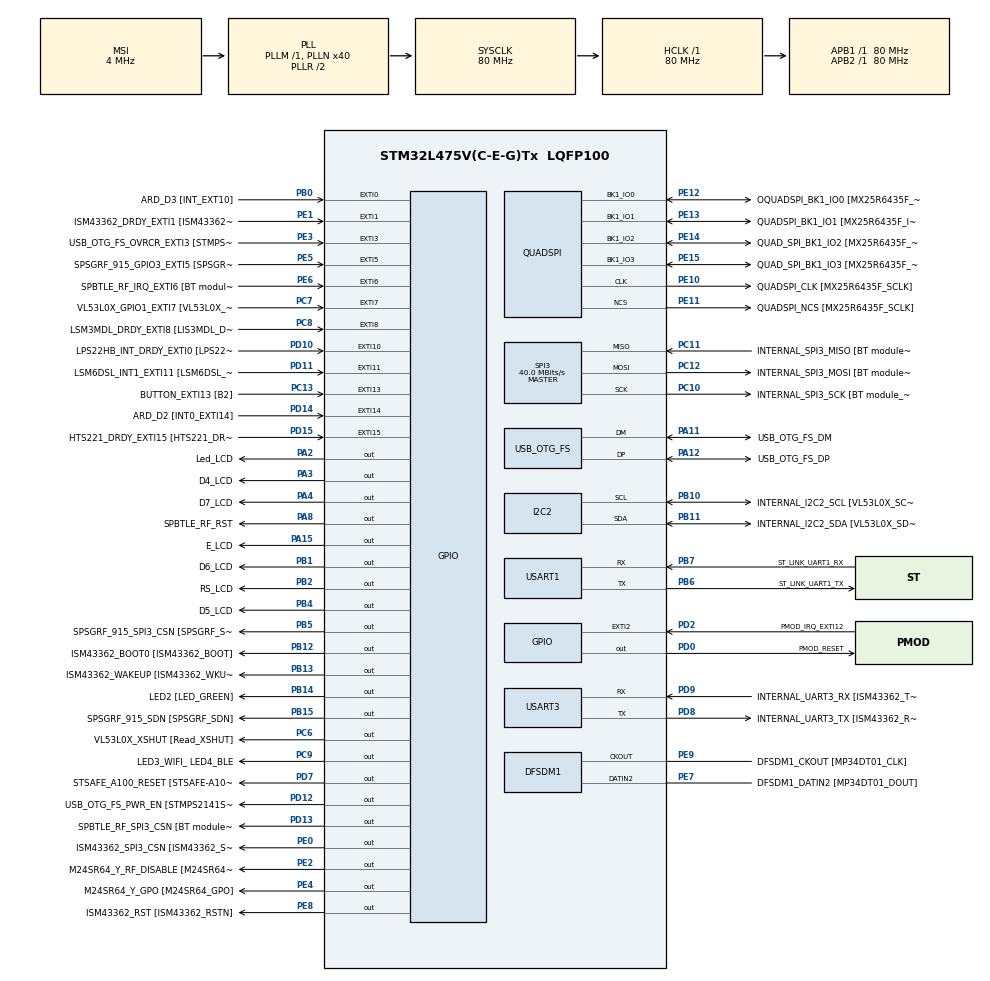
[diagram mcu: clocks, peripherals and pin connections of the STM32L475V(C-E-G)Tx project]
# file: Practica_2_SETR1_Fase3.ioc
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Mcu.Family=STM32L4
Mcu.Name=STM32L475V(C-E-G)Tx
Mcu.Package=LQFP100
NVIC.EXTI15_10_IRQn=true\:0\:0\:false\:false\:true\:true\:true\:true
NVIC.EXTI9_5_IRQn=true\:0\:0\:false\:false\:true\:true\:true\:true
NVIC.PriorityGroup=NVIC_PRIORITYGROUP_4
PA0.GPIO_Label=ARD_D1 [UART4_TX]
PA0.Signal=UART4_TX
PA1.GPIO_Label=ARD_D0 [UART4_RX]
PA1.Signal=UART4_RX
PA10.GPIO_Label=USB_OTG_FS_ID
PA10.Signal=USB_OTG_FS_ID
PA11.GPIO_Label=USB_OTG_FS_DM
PA11.Mode=Device_Only
PA11.Signal=USB_OTG_FS_DM
PA12.GPIO_Label=USB_OTG_FS_DP
PA12.Mode=Device_Only
PA12.Signal=USB_OTG_FS_DP
PA13\ (JTMS-SWDIO).GPIO_Label=SYS_JTMS_SWDIO
PA13\ (JTMS-SWDIO).Mode=Serial_Wire
PA13\ (JTMS-SWDIO).Signal=SYS_JTMS-SWDIO
PA14\ (JTCK-SWCLK).GPIO_Label=SYS_JTCK_SWCLK
PA14\ (JTCK-SWCLK).Mode=Serial_Wire
PA14\ (JTCK-SWCLK).Signal=SYS_JTCK-SWCLK
PA15\ (JTDI).GPIO_Label=E_LCD
PA15\ (JTDI).Signal=GPIO_Output
PA2.GPIO_Label=Led_LCD
PA2.Signal=GPIO_Output
PA3.GPIO_Label=D4_LCD
PA3.Signal=GPIO_Output
PA4.GPIO_Label=D7_LCD
PA4.Signal=GPIO_Output
PA5.GPIO_Label=ARD_D13 [SPI1_SCK]
PA5.Signal=SPI1_SCK
PA6.GPIO_Label=ARD_D12 [SPI1_MISO]
PA6.Signal=SPI1_MISO
PA7.GPIO_Label=ARD_D11 [SPI1_MOSI]
PA7.Signal=SPI1_MOSI
PA8.GPIO_Label=SPBTLE_RF_RST
PA8.Signal=GPIO_Output
PA9.GPIO_Label=USB_OTG_FS_VBUS [STMPS2141STR_OUT]
PA9.Signal=USB_OTG_FS_VBUS
PB0.GPIO_Label=ARD_D3 [INT_EXT10]
PB0.Signal=GPXTI0
PB1.GPIO_Label=D6_LCD
PB1.Signal=GPIO_Output
PB10.GPIO_Label=INTERNAL_I2C2_SCL [VL53L0X_SCL]
PB10.GPIO_Pu=GPIO_PULLUP
PB10.Mode=I2C
PB10.Signal=I2C2_SCL
PB11.GPIO_Label=INTERNAL_I2C2_SDA [VL53L0X_SDA]
PB11.GPIO_Pu=GPIO_PULLUP
PB11.Mode=I2C
PB11.Signal=I2C2_SDA
PB12.GPIO_Label=ISM43362_BOOT0 [ISM43362_BOOT]
PB12.Signal=GPIO_Output
PB13.GPIO_Label=ISM43362_WAKEUP [ISM43362_WKUP]
PB13.Signal=GPIO_Output
PB14.GPIO_Label=LED2 [LED_GREEN]
PB14.Signal=GPIO_Output
PB15.GPIO_Label=SPSGRF_915_SDN [SPSGRF_SDN]
PB15.Signal=GPIO_Output
PB2.GPIO_Label=RS_LCD
PB2.Signal=GPIO_Output
PB3\ (JTDO-TRACESWO).GPIO_Label=SYS_JTD0_SWO
PB3\ (JTDO-TRACESWO).Signal=SYS_JTDO-SWO
PB4\ (NJTRST).GPIO_Label=D5_LCD
PB4\ (NJTRST).Signal=GPIO_Output
PB5.GPIO_Label=SPSGRF_915_SPI3_CSN [SPSGRF_SPI_CS]
PB5.PinState=GPIO_PIN_SET
PB5.Signal=GPIO_Output
PB6.GPIO_Label=ST_LINK_UART1_TX
PB6.Mode=Asynchronous
PB6.Signal=USART1_TX
PB7.GPIO_Label=ST_LINK_UART1_RX
PB7.Mode=Asynchronous
PB7.Signal=USART1_RX
PB8.GPIO_Label=ARD_D15 [I2C1_SCL]
PB8.Signal=I2C1_SCL
PB9.GPIO_Label=ARD_D14 [I2C1_SDA]
PB9.Signal=I2C1_SDA
PC0.GPIO_Label=ARD_A5 [ADC]
PC0.Signal=ADCx_IN1
PC1.GPIO_Label=ARD_A4 [ADC]
PC1.Signal=ADCx_IN2
PC10.GPIO_Label=INTERNAL_SPI3_SCK [BT module_SPI_SCLK] [ISM43362_SCK]
PC10.Mode=Full_Duplex_Master
PC10.Signal=SPI3_SCK
PC11.GPIO_Label=INTERNAL_SPI3_MISO [BT module_SPI_MISO] [ISM43362_MISO]
PC11.Mode=Full_Duplex_Master
PC11.Signal=SPI3_MISO
PC12.GPIO_Label=INTERNAL_SPI3_MOSI [BT module_SPI_MOSI] [ISM43362_MOSI]
PC12.Mode=Full_Duplex_Master
PC12.Signal=SPI3_MOSI
PC13.GPIO_Label=BUTTON_EXTI13 [B2]
PC13.GPIO_ModeDefaultEXTI=GPIO_MODE_IT_FALLING
PC13.Signal=GPXTI13
PC14-OSC32_IN\ (PC14).Mode=LSE-External-Oscillator
PC14-OSC32_IN\ (PC14).Signal=RCC_OSC32_IN
PC15-OSC32_OUT\ (PC15).Mode=LSE-External-Oscillator
PC15-OSC32_OUT\ (PC15).Signal=RCC_OSC32_OUT
PC2.GPIO_Label=ARD_A3 [ADC]
PC2.Signal=ADCx_IN3
PC3.GPIO_Label=ARD_A2 [ADC]
PC3.Signal=ADCx_IN4
PC4.GPIO_Label=ARD_A1 [ADC]
PC4.Signal=ADCx_IN13
PC5.GPIO_Label=ARD_A0 [ADC]
PC5.Signal=ADCx_IN14
PC6.GPIO_Label=VL53L0X_XSHUT [Read_XSHUT]
PC6.Signal=GPIO_Output
PC7.GPIO_Label=VL53L0X_GPIO1_EXTI7 [VL53L0X_GPIO1]
PC7.Signal=GPXTI7
PC8.GPIO_Label=LSM3MDL_DRDY_EXTI8 [LIS3MDL_DRDY]
PC8.Signal=GPXTI8
PC9.GPIO_Label=LED3_WIFI_ LED4_BLE
PC9.Signal=GPIO_Output
PD0.GPIO_Label=PMOD_RESET
PD0.Signal=GPIO_Output
PD1.GPIO_Label=PMOD_SPI2_SCK
PD1.Signal=SPI2_SCK
PD10.GPIO_Label=LPS22HB_INT_DRDY_EXTI0 [LPS22HB_INT_DRDY] 
PD10.Signal=GPXTI10
PD11.GPIO_Label=LSM6DSL_INT1_EXTI11 [LSM6DSL_INT1]
PD11.Signal=GPXTI11
PD12.GPIO_Label=USB_OTG_FS_PWR_EN [STMPS2141STR_EN]
PD12.Signal=GPIO_Output
PD13.GPIO_Label=SPBTLE_RF_SPI3_CSN [BT module_SPI_CS]
PD13.PinState=GPIO_PIN_SET
PD13.Signal=GPIO_Output
PD14.GPIO_Label=ARD_D2 [INT0_EXTI14]
PD14.Signal=GPXTI14
PD15.GPIO_Label=HTS221_DRDY_EXTI15 [HTS221_DRDY]
PD15.Signal=GPXTI15
PD2.GPIO_Label=PMOD_IRQ_EXTI12
PD2.Signal=GPXTI2
PD3.GPIO_Label=PMOD_UART2_CTS
PD3.Signal=USART2_CTS
PD4.GPIO_Label=PMOD_UART2_RTS
PD4.Signal=USART2_RTS
PD5.GPIO_Label=PMOD_UART2_TX
PD5.Signal=USART2_TX
PD6.GPIO_Label=PMOD_UART2_RX
PD6.Signal=USART2_RX
PD7.GPIO_Label=STSAFE_A100_RESET [STSAFE-A100_RESET]
PD7.Signal=GPIO_Output
PD8.GPIO_Label=INTERNAL_UART3_TX [ISM43362_RX]
PD8.Mode=Asynchronous
PD8.Signal=USART3_TX
PD9.GPIO_Label=INTERNAL_UART3_RX [ISM43362_TX]
PD9.Mode=Asynchronous
PD9.Signal=USART3_RX
PE0.GPIO_Label=ISM43362_SPI3_CSN [ISM43362_SSN]
PE0.PinState=GPIO_PIN_SET
PE0.Signal=GPIO_Output
PE1.GPIO_Label=ISM43362_DRDY_EXTI1 [ISM43362_DATARDY]
PE1.Signal=GPXTI1
PE10.GPIO_Label=QUADSPI_CLK [MX25R6435F_SCLK]
PE10.Mode=Single Bank
PE10.Signal=QUADSPI_CLK
PE11.GPIO_Label=QUADSPI_NCS [MX25R6435F_SCLK]
PE11.Mode=Single Bank
PE11.Signal=QUADSPI_NCS
PE12.GPIO_Label=OQUADSPI_BK1_IO0 [MX25R6435F_IO0]
PE12.Mode=Single Bank
PE12.Signal=QUADSPI_BK1_IO0
PE13.GPIO_Label=QUADSPI_BK1_IO1 [MX25R6435F_IO1]
PE13.Mode=Single Bank
PE13.Signal=QUADSPI_BK1_IO1
PE14.GPIO_Label=QUAD_SPI_BK1_IO2 [MX25R6435F_IO2]
PE14.Mode=Single Bank
PE14.Signal=QUADSPI_BK1_IO2
PE15.GPIO_Label=QUAD_SPI_BK1_IO3 [MX25R6435F_IO3]
PE15.Mode=Single Bank
PE15.Signal=QUADSPI_BK1_IO3
PE2.GPIO_Label=M24SR64_Y_RF_DISABLE [M24SR64_RFDIS]
PE2.Signal=GPIO_Output
PE3.GPIO_Label=USB_OTG_FS_OVRCR_EXTI3 [STMPS2141STR_FAULT]
PE3.Signal=GPXTI3
PE4.GPIO_Label=M24SR64_Y_GPO [M24SR64_GPO]
PE4.Signal=GPIO_Output
PE5.GPIO_Label=SPSGRF_915_GPIO3_EXTI5 [SPSGRF_GPIO_3]
PE5.Signal=GPXTI5
PE6.GPIO_Label=SPBTLE_RF_IRQ_EXTI6 [BT module_SPI_IRQ]
PE6.Signal=GPXTI6
PE7.GPIO_Label=DFSDM1_DATIN2 [MP34DT01_DOUT]
PE7.Signal=S_DATAIN2DFSDM1
PE8.GPIO_Label=ISM43362_RST [ISM43362_RSTN]
PE8.Signal=GPIO_Output
PE9.GPIO_Label=DFSDM1_CKOUT [MP34DT01_CLK]
PE9.Signal=S_CKOUTDFSDM1
ProjectManager.HeapSize=0x200
ProjectManager.StackSize=0x400
ProjectManager.TargetToolchain=STM32CubeIDE
QUADSPI.ClockPrescaler=2
QUADSPI.FifoThreshold=4
QUADSPI.FlashSize=23
QUADSPI.SampleShifting=QSPI_SAMPLE_SHIFTING_HALFCYCLE
RCC.ADCFreq_Value=48000000
RCC.AHBFreq_Value=80000000
RCC.APB1Freq_Value=80000000
RCC.APB1TimFreq_Value=80000000
RCC.APB2Freq_Value=80000000
RCC.APB2TimFreq_Value=80000000
RCC.CortexFreq_Value=80000000
RCC.HCLKFreq_Value=80000000
RCC.HSE_VALUE=8000000
RCC.HSI_VALUE=16000000
RCC.MSI_VALUE=4000000
RCC.PLLN=40
RCC.PLLSAI1N=24
RCC.SYSCLKFreq_VALUE=80000000
RCC.SYSCLKSource=RCC_SYSCLKSOURCE_PLLCLK
RCC.USBFreq_Value=48000000
RCC.VCOOutputFreq_Value=160000000
SH.ADCx_IN1.0=ADC1_IN1
SH.ADCx_IN13.0=ADC1_IN13
SH.ADCx_IN14.0=ADC1_IN14
SH.ADCx_IN2.0=ADC1_IN2
SH.ADCx_IN3.0=ADC1_IN3
SH.ADCx_IN4.0=ADC1_IN4
SH.S_CKOUTDFSDM1.0=DFSDM1_CKOUT,CKOUT
SH.S_CKOUTDFSDM1.1=DFSDM1_CKOUT,PDM_SPI_Input_from_ch12_and_Internal_Clock
SH.S_DATAIN2DFSDM1.0=DFSDM1_DATIN2,PDM_SPI_Input_from_ch12_and_Internal_Clock
SPI3.CalculateBaudRate=40.0 MBits/s
SPI3.Direction=SPI_DIRECTION_2LINES
SPI3.Mode=SPI_MODE_MASTER
SPI3.VirtualType=VM_MASTER
USART1.VirtualMode-Asynchronous=VM_ASYNC
USART3.VirtualMode-Asynchronous=VM_ASYNC
USB_OTG_FS.VirtualMode=Device_Only
board=B-L475E-IOT01A1

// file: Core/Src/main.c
/* USER CODE BEGIN Header */
/**
  ******************************************************************************
  * @file           : main.c
  * @brief          : Main program body
  ******************************************************************************
  * @attention
  *
  * Copyright (c) 2024 STMicroelectronics.
  * All rights reserved.
  *
  * This software is licensed under terms that can be found in the LICENSE file
  * in the root directory of this software component.
  * If no LICENSE file comes with this software, it is provided AS-IS.
  *
  ******************************************************************************
  */
/* USER CODE END Header */
#include "main.h"

/* USER CODE BEGIN Includes */
#include "hd44780.h"
/* USER CODE END Includes */

DFSDM_Channel_HandleTypeDef hdfsdm1_channel1;

I2C_HandleTypeDef hi2c2;

QSPI_HandleTypeDef hqspi;

SPI_HandleTypeDef hspi3;

UART_HandleTypeDef huart1;
UART_HandleTypeDef huart3;

PCD_HandleTypeDef hpcd_USB_OTG_FS;

/* USER CODE BEGIN PV */
int contador = 0, estado_mu = 0;
/* USER CODE END PV */

void SystemClock_Config(void);
static void MX_GPIO_Init(void);
static void MX_DFSDM1_Init(void);
static void MX_I2C2_Init(void);
static void MX_QUADSPI_Init(void);
static void MX_SPI3_Init(void);
static void MX_USART1_UART_Init(void);
static void MX_USART3_UART_Init(void);
static void MX_USB_OTG_FS_PCD_Init(void);

int main(void)
{

  /* MCU Configuration--------------------------------------------------------*/

  /* Reset of all peripherals, Initializes the Flash interface and the Systick. */
  HAL_Init();

  /* Configure the system clock */
  SystemClock_Config();

  /* Initialize all configured peripherals */
  MX_GPIO_Init();
  MX_DFSDM1_Init();
  MX_I2C2_Init();
  MX_QUADSPI_Init();
  MX_SPI3_Init();
  MX_USART1_UART_Init();
  MX_USART3_UART_Init();
  MX_USB_OTG_FS_PCD_Init();

  /* USER CODE BEGIN 2 */
  //LL_GPIO_SetOutputPin(Led_LCD_GPIO_Port, Led_LCD_Pin);
  HAL_GPIO_WritePin(Led_LCD_GPIO_Port, Led_LCD_Pin, GPIO_PIN_SET);
  lcd_reset();
  lcd_display_settings(1,0,0);
  lcd_clear();
  lcd_print("Hola mundo");
  lcd_cgram_address(0); // se selecciona la dirección 0 de la CGRAM, patrón con código 0
  lcd_write(0x15, 1); //se va cargando con los bytes del patrón de cada fila de la CGRAM
  lcd_write(0x15, 1);
  lcd_write(0xe, 1);
  lcd_write(0x4, 1);
  lcd_write(0x4, 1);
  lcd_write(0xa, 1);
  lcd_write(0x11, 1);
  lcd_write(0x00, 1);
  lcd_cgram_address(8); //se selecciona la dirección 8 de la CGRAM, patrón con código 1
  lcd_write(0x4, 1); // se va cargando con los bytes del patrón de cada fila de la CGRAM
  lcd_write(0x4, 1);
  lcd_write(0xe, 1);
  lcd_write(0x15, 1);
  lcd_write(0x15, 1);
  lcd_write(0xa, 1);
  lcd_write(0xa, 1);
  lcd_write(0x00, 1);
  lcd_display_address(0); //Vuelve a direccionar la DDRAM para visualizar datos en pantalla
  /* USER CODE END 2 */

  /* Infinite loop */
  /* USER CODE BEGIN WHILE */

  while (1)
  {
	  contador++;
	  if(contador == 10 && estado_mu == 0){
	  moveToXY(1,7); //sitúa el cursor en la posición fila 1 columna 7, primer muñeco
	  lcd_write(0,1); //escribe el nuevo patrón 0 en la DDRAM
	  moveToXY(1,8); //sitúa el cursor en la posición fila 1 columna 7, segundo muñeco
	  lcd_write(0,1);
	  contador = 0;
	  estado_mu = 1;
	  }
	  //HAL_Delay(1000); //retraso de 1 segundo para dejar ver la figura en pantalla
	  if(contador == 10 && estado_mu == 1){
	  moveToXY(1,7);
	  lcd_write(1,1); //escribe el nuevo patrón 0 en la DDRAM
	  moveToXY(1,8);
	  lcd_write(1,1);
	  contador = 0;
	  estado_mu = 0;
	  //HAL_Delay(1000);
	  }

	  HAL_GPIO_WritePin(LED2_GPIO_Port, LED2_Pin, HAL_GPIO_ReadPin(BUTTON_EXTI13_GPIO_Port, BUTTON_EXTI13_Pin));

//	  if (LL_GPIO_IsInputPinSet(BUTTON_EXTI13_GPIO_Port, BUTTON_EXTI13_Pin))
//	  //LL_GPIO_SetOutputPin(LED2_GPIO_Port, LED2_Pin);
//		  HAL_GPIO_ReadPin(LED2_GPIO_Port, LED2_Pin);
//	  else
//	  //LL_GPIO_ResetOutputPin(LED2_GPIO_Port, LED2_Pin);
//		  HAL_GPIO_WritePin(LED2_GPIO_Port, LED2_Pin, GPIO_PIN_RESET);
//
//	  HAL_Delay(100);
    /* USER CODE END WHILE */

  }
}

void SystemClock_Config(void)
{
  RCC_OscInitTypeDef RCC_OscInitStruct = {0};
  RCC_ClkInitTypeDef RCC_ClkInitStruct = {0};

  /** Configure the main internal regulator output voltage
  */
  if (HAL_PWREx_ControlVoltageScaling(PWR_REGULATOR_VOLTAGE_SCALE1) != HAL_OK)
  {
    Error_Handler();
  }

  /** Configure LSE Drive Capability
  */
  HAL_PWR_EnableBkUpAccess();
  __HAL_RCC_LSEDRIVE_CONFIG(RCC_LSEDRIVE_LOW);

  /** Initializes the RCC Oscillators according to the specified parameters
  * in the RCC_OscInitTypeDef structure.
  */
  RCC_OscInitStruct.OscillatorType = RCC_OSCILLATORTYPE_LSE|RCC_OSCILLATORTYPE_MSI;
  RCC_OscInitStruct.LSEState = RCC_LSE_ON;
  RCC_OscInitStruct.MSIState = RCC_MSI_ON;
  RCC_OscInitStruct.MSICalibrationValue = 0;
  RCC_OscInitStruct.MSIClockRange = RCC_MSIRANGE_6;
  RCC_OscInitStruct.PLL.PLLState = RCC_PLL_ON;
  RCC_OscInitStruct.PLL.PLLSource = RCC_PLLSOURCE_MSI;
  RCC_OscInitStruct.PLL.PLLM = 1;
  RCC_OscInitStruct.PLL.PLLN = 40;
  RCC_OscInitStruct.PLL.PLLP = RCC_PLLP_DIV7;
  RCC_OscInitStruct.PLL.PLLQ = RCC_PLLQ_DIV2;
  RCC_OscInitStruct.PLL.PLLR = RCC_PLLR_DIV2;
  if (HAL_RCC_OscConfig(&RCC_OscInitStruct) != HAL_OK)
  {
    Error_Handler();
  }

  /** Initializes the CPU, AHB and APB buses clocks
  */
  RCC_ClkInitStruct.ClockType = RCC_CLOCKTYPE_HCLK|RCC_CLOCKTYPE_SYSCLK
                              |RCC_CLOCKTYPE_PCLK1|RCC_CLOCKTYPE_PCLK2;
  RCC_ClkInitStruct.SYSCLKSource = RCC_SYSCLKSOURCE_PLLCLK;
  RCC_ClkInitStruct.AHBCLKDivider = RCC_SYSCLK_DIV1;
  RCC_ClkInitStruct.APB1CLKDivider = RCC_HCLK_DIV1;
  RCC_ClkInitStruct.APB2CLKDivider = RCC_HCLK_DIV1;

  if (HAL_RCC_ClockConfig(&RCC_ClkInitStruct, FLASH_LATENCY_4) != HAL_OK)
  {
    Error_Handler();
  }

  /** Enable MSI Auto calibration
  */
  HAL_RCCEx_EnableMSIPLLMode();
}

static void MX_DFSDM1_Init(void)
{

  hdfsdm1_channel1.Instance = DFSDM1_Channel1;
  hdfsdm1_channel1.Init.OutputClock.Activation = ENABLE;
  hdfsdm1_channel1.Init.OutputClock.Selection = DFSDM_CHANNEL_OUTPUT_CLOCK_SYSTEM;
  hdfsdm1_channel1.Init.OutputClock.Divider = 2;
  hdfsdm1_channel1.Init.Input.Multiplexer = DFSDM_CHANNEL_EXTERNAL_INPUTS;
  hdfsdm1_channel1.Init.Input.DataPacking = DFSDM_CHANNEL_STANDARD_MODE;
  hdfsdm1_channel1.Init.Input.Pins = DFSDM_CHANNEL_FOLLOWING_CHANNEL_PINS;
  hdfsdm1_channel1.Init.SerialInterface.Type = DFSDM_CHANNEL_SPI_RISING;
  hdfsdm1_channel1.Init.SerialInterface.SpiClock = DFSDM_CHANNEL_SPI_CLOCK_INTERNAL;
  hdfsdm1_channel1.Init.Awd.FilterOrder = DFSDM_CHANNEL_FASTSINC_ORDER;
  hdfsdm1_channel1.Init.Awd.Oversampling = 1;
  hdfsdm1_channel1.Init.Offset = 0;
  hdfsdm1_channel1.Init.RightBitShift = 0x00;
  if (HAL_DFSDM_ChannelInit(&hdfsdm1_channel1) != HAL_OK)
  {
    Error_Handler();
  }

}

static void MX_I2C2_Init(void)
{

  hi2c2.Instance = I2C2;
  hi2c2.Init.Timing = 0x00000E14;
  hi2c2.Init.OwnAddress1 = 0;
  hi2c2.Init.AddressingMode = I2C_ADDRESSINGMODE_7BIT;
  hi2c2.Init.DualAddressMode = I2C_DUALADDRESS_DISABLE;
  hi2c2.Init.OwnAddress2 = 0;
  hi2c2.Init.OwnAddress2Masks = I2C_OA2_NOMASK;
  hi2c2.Init.GeneralCallMode = I2C_GENERALCALL_DISABLE;
  hi2c2.Init.NoStretchMode = I2C_NOSTRETCH_DISABLE;
  if (HAL_I2C_Init(&hi2c2) != HAL_OK)
  {
    Error_Handler();
  }

  /** Configure Analogue filter
  */
  if (HAL_I2CEx_ConfigAnalogFilter(&hi2c2, I2C_ANALOGFILTER_ENABLE) != HAL_OK)
  {
    Error_Handler();
  }

  /** Configure Digital filter
  */
  if (HAL_I2CEx_ConfigDigitalFilter(&hi2c2, 0) != HAL_OK)
  {
    Error_Handler();
  }

}

static void MX_QUADSPI_Init(void)
{

  /* QUADSPI parameter configuration*/
  hqspi.Instance = QUADSPI;
  hqspi.Init.ClockPrescaler = 2;
  hqspi.Init.FifoThreshold = 4;
  hqspi.Init.SampleShifting = QSPI_SAMPLE_SHIFTING_HALFCYCLE;
  hqspi.Init.FlashSize = 23;
  hqspi.Init.ChipSelectHighTime = QSPI_CS_HIGH_TIME_1_CYCLE;
  hqspi.Init.ClockMode = QSPI_CLOCK_MODE_0;
  if (HAL_QSPI_Init(&hqspi) != HAL_OK)
  {
    Error_Handler();
  }

}

static void MX_SPI3_Init(void)
{

  /* SPI3 parameter configuration*/
  hspi3.Instance = SPI3;
  hspi3.Init.Mode = SPI_MODE_MASTER;
  hspi3.Init.Direction = SPI_DIRECTION_2LINES;
  hspi3.Init.DataSize = SPI_DATASIZE_4BIT;
  hspi3.Init.CLKPolarity = SPI_POLARITY_LOW;
  hspi3.Init.CLKPhase = SPI_PHASE_1EDGE;
  hspi3.Init.NSS = SPI_NSS_SOFT;
  hspi3.Init.BaudRatePrescaler = SPI_BAUDRATEPRESCALER_2;
  hspi3.Init.FirstBit = SPI_FIRSTBIT_MSB;
  hspi3.Init.TIMode = SPI_TIMODE_DISABLE;
  hspi3.Init.CRCCalculation = SPI_CRCCALCULATION_DISABLE;
  hspi3.Init.CRCPolynomial = 7;
  hspi3.Init.CRCLength = SPI_CRC_LENGTH_DATASIZE;
  hspi3.Init.NSSPMode = SPI_NSS_PULSE_ENABLE;
  if (HAL_SPI_Init(&hspi3) != HAL_OK)
  {
    Error_Handler();
  }

}

static void MX_USART1_UART_Init(void)
{

  huart1.Instance = USART1;
  huart1.Init.BaudRate = 115200;
  huart1.Init.WordLength = UART_WORDLENGTH_8B;
  huart1.Init.StopBits = UART_STOPBITS_1;
  huart1.Init.Parity = UART_PARITY_NONE;
  huart1.Init.Mode = UART_MODE_TX_RX;
  huart1.Init.HwFlowCtl = UART_HWCONTROL_NONE;
  huart1.Init.OverSampling = UART_OVERSAMPLING_16;
  huart1.Init.OneBitSampling = UART_ONE_BIT_SAMPLE_DISABLE;
  huart1.AdvancedInit.AdvFeatureInit = UART_ADVFEATURE_NO_INIT;
  if (HAL_UART_Init(&huart1) != HAL_OK)
  {
    Error_Handler();
  }

}

static void MX_USART3_UART_Init(void)
{

  huart3.Instance = USART3;
  huart3.Init.BaudRate = 115200;
  huart3.Init.WordLength = UART_WORDLENGTH_8B;
  huart3.Init.StopBits = UART_STOPBITS_1;
  huart3.Init.Parity = UART_PARITY_NONE;
  huart3.Init.Mode = UART_MODE_TX_RX;
  huart3.Init.HwFlowCtl = UART_HWCONTROL_NONE;
  huart3.Init.OverSampling = UART_OVERSAMPLING_16;
  huart3.Init.OneBitSampling = UART_ONE_BIT_SAMPLE_DISABLE;
  huart3.AdvancedInit.AdvFeatureInit = UART_ADVFEATURE_NO_INIT;
  if (HAL_UART_Init(&huart3) != HAL_OK)
  {
    Error_Handler();
  }

}

static void MX_USB_OTG_FS_PCD_Init(void)
{

  hpcd_USB_OTG_FS.Instance = USB_OTG_FS;
  hpcd_USB_OTG_FS.Init.dev_endpoints = 6;
  hpcd_USB_OTG_FS.Init.speed = PCD_SPEED_FULL;
  hpcd_USB_OTG_FS.Init.phy_itface = PCD_PHY_EMBEDDED;
  hpcd_USB_OTG_FS.Init.Sof_enable = DISABLE;
  hpcd_USB_OTG_FS.Init.low_power_enable = DISABLE;
  hpcd_USB_OTG_FS.Init.lpm_enable = DISABLE;
  hpcd_USB_OTG_FS.Init.battery_charging_enable = DISABLE;
  hpcd_USB_OTG_FS.Init.use_dedicated_ep1 = DISABLE;
  hpcd_USB_OTG_FS.Init.vbus_sensing_enable = DISABLE;
  if (HAL_PCD_Init(&hpcd_USB_OTG_FS) != HAL_OK)
  {
    Error_Handler();
  }

}

static void MX_GPIO_Init(void)
{
  LL_EXTI_InitTypeDef EXTI_InitStruct = {0};
  LL_GPIO_InitTypeDef GPIO_InitStruct = {0};

  /* GPIO Ports Clock Enable */
  LL_AHB2_GRP1_EnableClock(LL_AHB2_GRP1_PERIPH_GPIOE);
  LL_AHB2_GRP1_EnableClock(LL_AHB2_GRP1_PERIPH_GPIOC);
  LL_AHB2_GRP1_EnableClock(LL_AHB2_GRP1_PERIPH_GPIOA);
  LL_AHB2_GRP1_EnableClock(LL_AHB2_GRP1_PERIPH_GPIOB);
  LL_AHB2_GRP1_EnableClock(LL_AHB2_GRP1_PERIPH_GPIOD);

  /**/
  LL_GPIO_ResetOutputPin(GPIOE, M24SR64_Y_RF_DISABLE_Pin|M24SR64_Y_GPO_Pin|ISM43362_RST_Pin);

  /**/
  LL_GPIO_ResetOutputPin(GPIOA, Led_LCD_Pin|D4_LCD_Pin|D7_LCD_Pin|SPBTLE_RF_RST_Pin
                          |E_LCD_Pin);

  /**/
  LL_GPIO_ResetOutputPin(GPIOB, D6_LCD_Pin|RS_LCD_Pin|ISM43362_BOOT0_Pin|ISM43362_WAKEUP_Pin
                          |LED2_Pin|SPSGRF_915_SDN_Pin|D5_LCD_Pin);

  /**/
  LL_GPIO_ResetOutputPin(GPIOD, USB_OTG_FS_PWR_EN_Pin|PMOD_RESET_Pin|STSAFE_A100_RESET_Pin);

  /**/
  LL_GPIO_ResetOutputPin(GPIOC, VL53L0X_XSHUT_Pin|LED3_WIFI__LED4_BLE_Pin);

  /**/
  LL_GPIO_SetOutputPin(SPBTLE_RF_SPI3_CSN_GPIO_Port, SPBTLE_RF_SPI3_CSN_Pin);

  /**/
  LL_GPIO_SetOutputPin(SPSGRF_915_SPI3_CSN_GPIO_Port, SPSGRF_915_SPI3_CSN_Pin);

  /**/
  LL_GPIO_SetOutputPin(ISM43362_SPI3_CSN_GPIO_Port, ISM43362_SPI3_CSN_Pin);

  /**/
  GPIO_InitStruct.Pin = M24SR64_Y_RF_DISABLE_Pin|M24SR64_Y_GPO_Pin|ISM43362_RST_Pin|ISM43362_SPI3_CSN_Pin;
  GPIO_InitStruct.Mode = LL_GPIO_MODE_OUTPUT;
  GPIO_InitStruct.Speed = LL_GPIO_SPEED_FREQ_LOW;
  GPIO_InitStruct.OutputType = LL_GPIO_OUTPUT_PUSHPULL;
  GPIO_InitStruct.Pull = LL_GPIO_PULL_NO;
  LL_GPIO_Init(GPIOE, &GPIO_InitStruct);

  /**/
  GPIO_InitStruct.Pin = ARD_A5_Pin|ARD_A4_Pin|ARD_A3_Pin|ARD_A2_Pin
                          |ARD_A1_Pin|ARD_A0_Pin;
  GPIO_InitStruct.Mode = LL_GPIO_MODE_ANALOG;
  GPIO_InitStruct.Pull = LL_GPIO_PULL_NO;
  LL_GPIO_Init(GPIOC, &GPIO_InitStruct);

  /**/
  GPIO_InitStruct.Pin = ARD_D1_Pin|ARD_D0_Pin;
  GPIO_InitStruct.Mode = LL_GPIO_MODE_ALTERNATE;
  GPIO_InitStruct.Speed = LL_GPIO_SPEED_FREQ_VERY_HIGH;
  GPIO_InitStruct.OutputType = LL_GPIO_OUTPUT_PUSHPULL;
  GPIO_InitStruct.Pull = LL_GPIO_PULL_NO;
  GPIO_InitStruct.Alternate = LL_GPIO_AF_8;
  LL_GPIO_Init(GPIOA, &GPIO_InitStruct);

  /**/
  GPIO_InitStruct.Pin = Led_LCD_Pin|D4_LCD_Pin|D7_LCD_Pin|SPBTLE_RF_RST_Pin
                          |E_LCD_Pin;
  GPIO_InitStruct.Mode = LL_GPIO_MODE_OUTPUT;
  GPIO_InitStruct.Speed = LL_GPIO_SPEED_FREQ_LOW;
  GPIO_InitStruct.OutputType = LL_GPIO_OUTPUT_PUSHPULL;
  GPIO_InitStruct.Pull = LL_GPIO_PULL_NO;
  LL_GPIO_Init(GPIOA, &GPIO_InitStruct);

  /**/
  GPIO_InitStruct.Pin = ARD_D13_Pin|ARD_D12_Pin|ARD_D11_Pin;
  GPIO_InitStruct.Mode = LL_GPIO_MODE_ALTERNATE;
  GPIO_InitStruct.Speed = LL_GPIO_SPEED_FREQ_VERY_HIGH;
  GPIO_InitStruct.OutputType = LL_GPIO_OUTPUT_PUSHPULL;
  GPIO_InitStruct.Pull = LL_GPIO_PULL_NO;
  GPIO_InitStruct.Alternate = LL_GPIO_AF_5;
  LL_GPIO_Init(GPIOA, &GPIO_InitStruct);

  /**/
  GPIO_InitStruct.Pin = D6_LCD_Pin|RS_LCD_Pin|ISM43362_BOOT0_Pin|ISM43362_WAKEUP_Pin
                          |LED2_Pin|SPSGRF_915_SDN_Pin|D5_LCD_Pin|SPSGRF_915_SPI3_CSN_Pin;
  GPIO_InitStruct.Mode = LL_GPIO_MODE_OUTPUT;
  GPIO_InitStruct.Speed = LL_GPIO_SPEED_FREQ_LOW;
  GPIO_InitStruct.OutputType = LL_GPIO_OUTPUT_PUSHPULL;
  GPIO_InitStruct.Pull = LL_GPIO_PULL_NO;
  LL_GPIO_Init(GPIOB, &GPIO_InitStruct);

  /**/
  GPIO_InitStruct.Pin = USB_OTG_FS_PWR_EN_Pin|SPBTLE_RF_SPI3_CSN_Pin|PMOD_RESET_Pin|STSAFE_A100_RESET_Pin;
  GPIO_InitStruct.Mode = LL_GPIO_MODE_OUTPUT;
  GPIO_InitStruct.Speed = LL_GPIO_SPEED_FREQ_LOW;
  GPIO_InitStruct.OutputType = LL_GPIO_OUTPUT_PUSHPULL;
  GPIO_InitStruct.Pull = LL_GPIO_PULL_NO;
  LL_GPIO_Init(GPIOD, &GPIO_InitStruct);

  /**/
  GPIO_InitStruct.Pin = VL53L0X_XSHUT_Pin|LED3_WIFI__LED4_BLE_Pin;
  GPIO_InitStruct.Mode = LL_GPIO_MODE_OUTPUT;
  GPIO_InitStruct.Speed = LL_GPIO_SPEED_FREQ_LOW;
  GPIO_InitStruct.OutputType = LL_GPIO_OUTPUT_PUSHPULL;
  GPIO_InitStruct.Pull = LL_GPIO_PULL_NO;
  LL_GPIO_Init(GPIOC, &GPIO_InitStruct);

  /**/
  GPIO_InitStruct.Pin = PMOD_SPI2_SCK_Pin;
  GPIO_InitStruct.Mode = LL_GPIO_MODE_ALTERNATE;
  GPIO_InitStruct.Speed = LL_GPIO_SPEED_FREQ_VERY_HIGH;
  GPIO_InitStruct.OutputType = LL_GPIO_OUTPUT_PUSHPULL;
  GPIO_InitStruct.Pull = LL_GPIO_PULL_NO;
  GPIO_InitStruct.Alternate = LL_GPIO_AF_5;
  LL_GPIO_Init(PMOD_SPI2_SCK_GPIO_Port, &GPIO_InitStruct);

  /**/
  GPIO_InitStruct.Pin = PMOD_UART2_CTS_Pin|PMOD_UART2_RTS_Pin|PMOD_UART2_TX_Pin|PMOD_UART2_RX_Pin;
  GPIO_InitStruct.Mode = LL_GPIO_MODE_ALTERNATE;
  GPIO_InitStruct.Speed = LL_GPIO_SPEED_FREQ_VERY_HIGH;
  GPIO_InitStruct.OutputType = LL_GPIO_OUTPUT_PUSHPULL;
  GPIO_InitStruct.Pull = LL_GPIO_PULL_NO;
  GPIO_InitStruct.Alternate = LL_GPIO_AF_7;
  LL_GPIO_Init(GPIOD, &GPIO_InitStruct);

  /**/
  GPIO_InitStruct.Pin = ARD_D15_Pin|ARD_D14_Pin;
  GPIO_InitStruct.Mode = LL_GPIO_MODE_ALTERNATE;
  GPIO_InitStruct.Speed = LL_GPIO_SPEED_FREQ_VERY_HIGH;
  GPIO_InitStruct.OutputType = LL_GPIO_OUTPUT_OPENDRAIN;
  GPIO_InitStruct.Pull = LL_GPIO_PULL_NO;
  GPIO_InitStruct.Alternate = LL_GPIO_AF_4;
  LL_GPIO_Init(GPIOB, &GPIO_InitStruct);

  /**/
  LL_SYSCFG_SetEXTISource(LL_SYSCFG_EXTI_PORTE, LL_SYSCFG_EXTI_LINE3);

  /**/
  LL_SYSCFG_SetEXTISource(LL_SYSCFG_EXTI_PORTE, LL_SYSCFG_EXTI_LINE5);

  /**/
  LL_SYSCFG_SetEXTISource(LL_SYSCFG_EXTI_PORTE, LL_SYSCFG_EXTI_LINE6);

  /**/
  LL_SYSCFG_SetEXTISource(LL_SYSCFG_EXTI_PORTC, LL_SYSCFG_EXTI_LINE13);

  /**/
  LL_SYSCFG_SetEXTISource(LL_SYSCFG_EXTI_PORTB, LL_SYSCFG_EXTI_LINE0);

  /**/
  LL_SYSCFG_SetEXTISource(LL_SYSCFG_EXTI_PORTD, LL_SYSCFG_EXTI_LINE10);

  /**/
  LL_SYSCFG_SetEXTISource(LL_SYSCFG_EXTI_PORTD, LL_SYSCFG_EXTI_LINE11);

  /**/
  LL_SYSCFG_SetEXTISource(LL_SYSCFG_EXTI_PORTD, LL_SYSCFG_EXTI_LINE14);

  /**/
  LL_SYSCFG_SetEXTISource(LL_SYSCFG_EXTI_PORTD, LL_SYSCFG_EXTI_LINE15);

  /**/
  LL_SYSCFG_SetEXTISource(LL_SYSCFG_EXTI_PORTC, LL_SYSCFG_EXTI_LINE7);

  /**/
  LL_SYSCFG_SetEXTISource(LL_SYSCFG_EXTI_PORTC, LL_SYSCFG_EXTI_LINE8);

  /**/
  LL_SYSCFG_SetEXTISource(LL_SYSCFG_EXTI_PORTD, LL_SYSCFG_EXTI_LINE2);

  /**/
  LL_SYSCFG_SetEXTISource(LL_SYSCFG_EXTI_PORTE, LL_SYSCFG_EXTI_LINE1);

  /**/
  EXTI_InitStruct.Line_0_31 = LL_EXTI_LINE_3;
  EXTI_InitStruct.Line_32_63 = LL_EXTI_LINE_NONE;
  EXTI_InitStruct.LineCommand = ENABLE;
  EXTI_InitStruct.Mode = LL_EXTI_MODE_IT;
  EXTI_InitStruct.Trigger = LL_EXTI_TRIGGER_RISING;
  LL_EXTI_Init(&EXTI_InitStruct);

  /**/
  EXTI_InitStruct.Line_0_31 = LL_EXTI_LINE_5;
  EXTI_InitStruct.Line_32_63 = LL_EXTI_LINE_NONE;
  EXTI_InitStruct.LineCommand = ENABLE;
  EXTI_InitStruct.Mode = LL_EXTI_MODE_IT;
  EXTI_InitStruct.Trigger = LL_EXTI_TRIGGER_RISING;
  LL_EXTI_Init(&EXTI_InitStruct);

  /**/
  EXTI_InitStruct.Line_0_31 = LL_EXTI_LINE_6;
  EXTI_InitStruct.Line_32_63 = LL_EXTI_LINE_NONE;
  EXTI_InitStruct.LineCommand = ENABLE;
  EXTI_InitStruct.Mode = LL_EXTI_MODE_IT;
  EXTI_InitStruct.Trigger = LL_EXTI_TRIGGER_RISING;
  LL_EXTI_Init(&EXTI_InitStruct);

  /**/
  EXTI_InitStruct.Line_0_31 = LL_EXTI_LINE_13;
  EXTI_InitStruct.Line_32_63 = LL_EXTI_LINE_NONE;
  EXTI_InitStruct.LineCommand = ENABLE;
  EXTI_InitStruct.Mode = LL_EXTI_MODE_IT;
  EXTI_InitStruct.Trigger = LL_EXTI_TRIGGER_FALLING;
  LL_EXTI_Init(&EXTI_InitStruct);

  /**/
  EXTI_InitStruct.Line_0_31 = LL_EXTI_LINE_0;
  EXTI_InitStruct.Line_32_63 = LL_EXTI_LINE_NONE;
  EXTI_InitStruct.LineCommand = ENABLE;
  EXTI_InitStruct.Mode = LL_EXTI_MODE_IT;
  EXTI_InitStruct.Trigger = LL_EXTI_TRIGGER_RISING;
  LL_EXTI_Init(&EXTI_InitStruct);

  /**/
  EXTI_InitStruct.Line_0_31 = LL_EXTI_LINE_10;
  EXTI_InitStruct.Line_32_63 = LL_EXTI_LINE_NONE;
  EXTI_InitStruct.LineCommand = ENABLE;
  EXTI_InitStruct.Mode = LL_EXTI_MODE_IT;
  EXTI_InitStruct.Trigger = LL_EXTI_TRIGGER_RISING;
  LL_EXTI_Init(&EXTI_InitStruct);

  /**/
  EXTI_InitStruct.Line_0_31 = LL_EXTI_LINE_11;
  EXTI_InitStruct.Line_32_63 = LL_EXTI_LINE_NONE;
  EXTI_InitStruct.LineCommand = ENABLE;
  EXTI_InitStruct.Mode = LL_EXTI_MODE_IT;
  EXTI_InitStruct.Trigger = LL_EXTI_TRIGGER_RISING;
  LL_EXTI_Init(&EXTI_InitStruct);

  /**/
  EXTI_InitStruct.Line_0_31 = LL_EXTI_LINE_14;
  EXTI_InitStruct.Line_32_63 = LL_EXTI_LINE_NONE;
  EXTI_InitStruct.LineCommand = ENABLE;
  EXTI_InitStruct.Mode = LL_EXTI_MODE_IT;
  EXTI_InitStruct.Trigger = LL_EXTI_TRIGGER_RISING;
  LL_EXTI_Init(&EXTI_InitStruct);

  /**/
  EXTI_InitStruct.Line_0_31 = LL_EXTI_LINE_15;
  EXTI_InitStruct.Line_32_63 = LL_EXTI_LINE_NONE;
  EXTI_InitStruct.LineCommand = ENABLE;
  EXTI_InitStruct.Mode = LL_EXTI_MODE_IT;
  EXTI_InitStruct.Trigger = LL_EXTI_TRIGGER_RISING;
  LL_EXTI_Init(&EXTI_InitStruct);

  /**/
  EXTI_InitStruct.Line_0_31 = LL_EXTI_LINE_7;
  EXTI_InitStruct.Line_32_63 = LL_EXTI_LINE_NONE;
  EXTI_InitStruct.LineCommand = ENABLE;
  EXTI_InitStruct.Mode = LL_EXTI_MODE_IT;
  EXTI_InitStruct.Trigger = LL_EXTI_TRIGGER_RISING;
  LL_EXTI_Init(&EXTI_InitStruct);

  /**/
  EXTI_InitStruct.Line_0_31 = LL_EXTI_LINE_8;
  EXTI_InitStruct.Line_32_63 = LL_EXTI_LINE_NONE;
  EXTI_InitStruct.LineCommand = ENABLE;
  EXTI_InitStruct.Mode = LL_EXTI_MODE_IT;
  EXTI_InitStruct.Trigger = LL_EXTI_TRIGGER_RISING;
  LL_EXTI_Init(&EXTI_InitStruct);

  /**/
  EXTI_InitStruct.Line_0_31 = LL_EXTI_LINE_2;
  EXTI_InitStruct.Line_32_63 = LL_EXTI_LINE_NONE;
  EXTI_InitStruct.LineCommand = ENABLE;
  EXTI_InitStruct.Mode = LL_EXTI_MODE_IT;
  EXTI_InitStruct.Trigger = LL_EXTI_TRIGGER_RISING;
  LL_EXTI_Init(&EXTI_InitStruct);

  /**/
  EXTI_InitStruct.Line_0_31 = LL_EXTI_LINE_1;
  EXTI_InitStruct.Line_32_63 = LL_EXTI_LINE_NONE;
  EXTI_InitStruct.LineCommand = ENABLE;
  EXTI_InitStruct.Mode = LL_EXTI_MODE_IT;
  EXTI_InitStruct.Trigger = LL_EXTI_TRIGGER_RISING;
  LL_EXTI_Init(&EXTI_InitStruct);

  /**/
  LL_GPIO_SetPinPull(USB_OTG_FS_OVRCR_EXTI3_GPIO_Port, USB_OTG_FS_OVRCR_EXTI3_Pin, LL_GPIO_PULL_NO);

  /**/
  LL_GPIO_SetPinPull(SPSGRF_915_GPIO3_EXTI5_GPIO_Port, SPSGRF_915_GPIO3_EXTI5_Pin, LL_GPIO_PULL_NO);

  /**/
  LL_GPIO_SetPinPull(SPBTLE_RF_IRQ_EXTI6_GPIO_Port, SPBTLE_RF_IRQ_EXTI6_Pin, LL_GPIO_PULL_NO);

  /**/
  LL_GPIO_SetPinPull(BUTTON_EXTI13_GPIO_Port, BUTTON_EXTI13_Pin, LL_GPIO_PULL_NO);

  /**/
  LL_GPIO_SetPinPull(ARD_D3_GPIO_Port, ARD_D3_Pin, LL_GPIO_PULL_NO);

  /**/
  LL_GPIO_SetPinPull(LPS22HB_INT_DRDY_EXTI0_GPIO_Port, LPS22HB_INT_DRDY_EXTI0_Pin, LL_GPIO_PULL_NO);

  /**/
  LL_GPIO_SetPinPull(LSM6DSL_INT1_EXTI11_GPIO_Port, LSM6DSL_INT1_EXTI11_Pin, LL_GPIO_PULL_NO);

  /**/
  LL_GPIO_SetPinPull(ARD_D2_GPIO_Port, ARD_D2_Pin, LL_GPIO_PULL_NO);

  /**/
  LL_GPIO_SetPinPull(HTS221_DRDY_EXTI15_GPIO_Port, HTS221_DRDY_EXTI15_Pin, LL_GPIO_PULL_NO);

  /**/
  LL_GPIO_SetPinPull(VL53L0X_GPIO1_EXTI7_GPIO_Port, VL53L0X_GPIO1_EXTI7_Pin, LL_GPIO_PULL_NO);

  /**/
  LL_GPIO_SetPinPull(LSM3MDL_DRDY_EXTI8_GPIO_Port, LSM3MDL_DRDY_EXTI8_Pin, LL_GPIO_PULL_NO);

  /**/
  LL_GPIO_SetPinPull(PMOD_IRQ_EXTI12_GPIO_Port, PMOD_IRQ_EXTI12_Pin, LL_GPIO_PULL_NO);

  /**/
  LL_GPIO_SetPinPull(ISM43362_DRDY_EXTI1_GPIO_Port, ISM43362_DRDY_EXTI1_Pin, LL_GPIO_PULL_NO);

  /**/
  LL_GPIO_SetPinMode(USB_OTG_FS_OVRCR_EXTI3_GPIO_Port, USB_OTG_FS_OVRCR_EXTI3_Pin, LL_GPIO_MODE_INPUT);

  /**/
  LL_GPIO_SetPinMode(SPSGRF_915_GPIO3_EXTI5_GPIO_Port, SPSGRF_915_GPIO3_EXTI5_Pin, LL_GPIO_MODE_INPUT);

  /**/
  LL_GPIO_SetPinMode(SPBTLE_RF_IRQ_EXTI6_GPIO_Port, SPBTLE_RF_IRQ_EXTI6_Pin, LL_GPIO_MODE_INPUT);

  /**/
  LL_GPIO_SetPinMode(BUTTON_EXTI13_GPIO_Port, BUTTON_EXTI13_Pin, LL_GPIO_MODE_INPUT);

  /**/
  LL_GPIO_SetPinMode(ARD_D3_GPIO_Port, ARD_D3_Pin, LL_GPIO_MODE_INPUT);

  /**/
  LL_GPIO_SetPinMode(LPS22HB_INT_DRDY_EXTI0_GPIO_Port, LPS22HB_INT_DRDY_EXTI0_Pin, LL_GPIO_MODE_INPUT);

  /**/
  LL_GPIO_SetPinMode(LSM6DSL_INT1_EXTI11_GPIO_Port, LSM6DSL_INT1_EXTI11_Pin, LL_GPIO_MODE_INPUT);

  /**/
  LL_GPIO_SetPinMode(ARD_D2_GPIO_Port, ARD_D2_Pin, LL_GPIO_MODE_INPUT);

  /**/
  LL_GPIO_SetPinMode(HTS221_DRDY_EXTI15_GPIO_Port, HTS221_DRDY_EXTI15_Pin, LL_GPIO_MODE_INPUT);

  /**/
  LL_GPIO_SetPinMode(VL53L0X_GPIO1_EXTI7_GPIO_Port, VL53L0X_GPIO1_EXTI7_Pin, LL_GPIO_MODE_INPUT);

  /**/
  LL_GPIO_SetPinMode(LSM3MDL_DRDY_EXTI8_GPIO_Port, LSM3MDL_DRDY_EXTI8_Pin, LL_GPIO_MODE_INPUT);

  /**/
  LL_GPIO_SetPinMode(PMOD_IRQ_EXTI12_GPIO_Port, PMOD_IRQ_EXTI12_Pin, LL_GPIO_MODE_INPUT);

  /**/
  LL_GPIO_SetPinMode(ISM43362_DRDY_EXTI1_GPIO_Port, ISM43362_DRDY_EXTI1_Pin, LL_GPIO_MODE_INPUT);

  /**/
  LL_GPIO_EnablePinAnalogControl(GPIOC, ARD_A5_Pin|ARD_A4_Pin|ARD_A3_Pin|ARD_A2_Pin
                          |ARD_A1_Pin|ARD_A0_Pin);

  /* EXTI interrupt init*/
  NVIC_SetPriority(EXTI9_5_IRQn, NVIC_EncodePriority(NVIC_GetPriorityGrouping(),0, 0));
  NVIC_EnableIRQ(EXTI9_5_IRQn);
  NVIC_SetPriority(EXTI15_10_IRQn, NVIC_EncodePriority(NVIC_GetPriorityGrouping(),0, 0));
  NVIC_EnableIRQ(EXTI15_10_IRQn);

}

void Error_Handler(void)
{
  __disable_irq();
  while (1)
  {
  }
}
